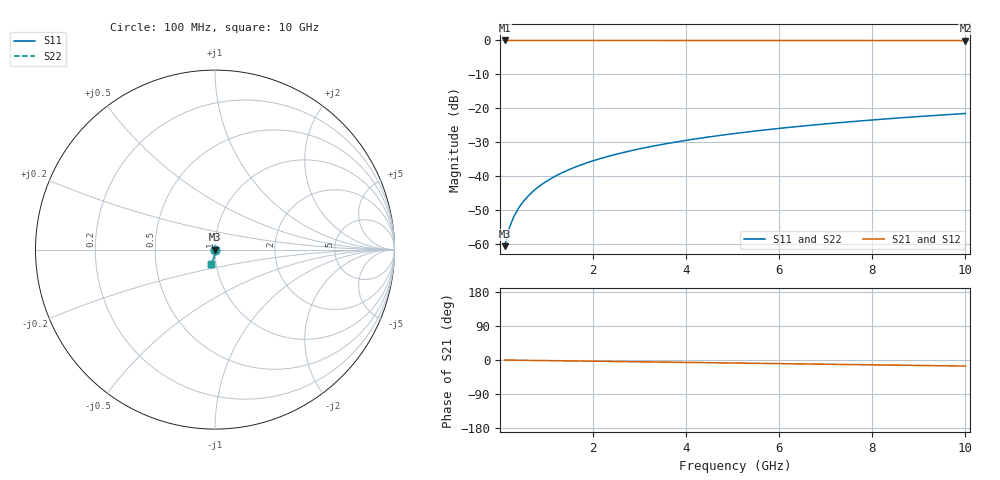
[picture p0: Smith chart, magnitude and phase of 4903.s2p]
# Hz S RI R 50.00
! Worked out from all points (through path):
!   100 points, 100 MHz to 10 GHz, reference 50 ohm
!   highest |S21| = 0.00 dB at 100 MHz (marker M1); lowest = 0.0 dB at 10 GHz (marker M2)
!   group delay of S21, straight-line fit = 4.43 ps
!   lowest |S11| = -60.6 dB at 100 MHz (marker M3), VSWR 1.00, Z = 50 - j0.0844 ohm
!   |S11| at or under -10 dB: start of sweep to end of sweep
!   |S22| runs from -60.6 to -21.5 dB; largest |S21 - S12| = 0
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1e8  0.000401 -0.000843  0.9996 -0.00276  0.9996 -0.00276  0.000401 -0.000843
2e8  0.000395 -0.00169  0.9996 -0.00553  0.9996 -0.00553  0.000395 -0.00169
3e8  0.000383 -0.00253  0.9995 -0.00829  0.9995 -0.00829  0.000383 -0.00253
4e8  0.000367 -0.00337  0.9995 -0.0111  0.9995 -0.0111  0.000367 -0.00337
5e8  0.000346 -0.00422  0.9995 -0.0138  0.9995 -0.0138  0.000346 -0.00422
6e8  0.00032 -0.00506  0.9994 -0.0166  0.9994 -0.0166  0.00032 -0.00506
7e8  0.000289 -0.0059  0.9994 -0.0193  0.9994 -0.0193  0.000289 -0.0059
8e8  0.000253 -0.00675  0.9993 -0.0221  0.9993 -0.0221  0.000253 -0.00675
9e8  0.000213 -0.00759  0.9992 -0.0249  0.9992 -0.0249  0.000213 -0.00759
1.1e9  0.000118 -0.00928  0.9991 -0.0304  0.9991 -0.0304  0.000118 -0.00928
1.4e9  -5.97e-05 -0.0118  0.9987 -0.0387  0.9987 -0.0387  -5.97e-05 -0.0118
1.8e9  -0.000362 -0.0152  0.9982 -0.0497  0.9982 -0.0497  -0.000362 -0.0152
2.1e9  -0.000639 -0.0177  0.9977 -0.058  0.9977 -0.058  -0.000639 -0.0177
2.5e9  -0.00107 -0.0211  0.9969 -0.0691  0.9969 -0.0691  -0.00107 -0.0211
2.9e9  -0.00158 -0.0244  0.996 -0.0801  0.996 -0.0801  -0.00158 -0.0244
3.4e9  -0.00232 -0.0286  0.9947 -0.0939  0.9947 -0.0939  -0.00232 -0.0286
4.2e9  -0.00375 -0.0353  0.9921 -0.116  0.9921 -0.116  -0.00375 -0.0353
5.1e9  -0.00572 -0.0427  0.9886 -0.1408  0.9886 -0.1408  -0.00572 -0.0427
5.9e9  -0.00778 -0.0492  0.9848 -0.1627  0.9848 -0.1627  -0.00778 -0.0492
6.7e9  -0.0101 -0.0556  0.9806 -0.1846  0.9806 -0.1846  -0.0101 -0.0556
8.4e9  -0.0161 -0.0689  0.9698 -0.2308  0.9698 -0.2308  -0.0161 -0.0689
1e10  -0.0228 -0.0808  0.9574 -0.2738  0.9574 -0.2738  -0.0228 -0.0808
